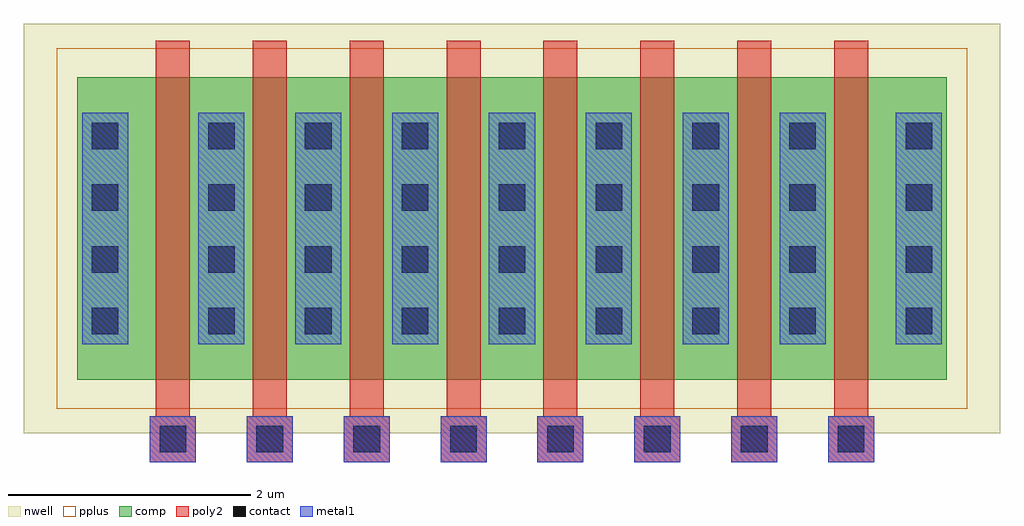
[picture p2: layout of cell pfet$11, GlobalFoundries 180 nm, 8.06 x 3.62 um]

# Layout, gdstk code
import gdstk
lib = gdstk.Library(unit=1e-6, precision=5e-09)
def R(c, l, rs):  # rectangles x0, y0, x1, y1
    for r in rs: c.add(gdstk.rectangle(r[:2], r[2:], *l))
def A(c, l, x, y, w, h, nx, ny, dx, dy):  # array of equal rectangles
    R(c, l, [(x+i*dx, y+j*dy, x+i*dx+w, y+j*dy+h) for i in range(nx) for j in range(ny)])
nwell = (21, 0)
comp = (22, 0)
poly2 = (30, 0)
pplus = (31, 0)
contact = (33, 0)
metal1 = (34, 0)

pfet_11 = lib.new_cell('pfet$11')
R(pfet_11, nwell, [(-0.9,-0.44,7.16,2.94)])
R(pfet_11, comp, [(-0.46,0,0,2.5), (0,0,6.26,2.5), (6.26,0,6.72,2.5)])
A(pfet_11, poly2, 0.14, -0.68, 0.38, 0.38, 8, 1, 0.8, 0)
A(pfet_11, poly2, 0.19, -0.3, 0.28, 3.1, 8, 1, 0.8, 0)
R(pfet_11, pplus, [(-0.63,-0.24,6.89,2.74)])
A(pfet_11, contact, 0.22, -0.6, 0.22, 0.22, 8, 1, 0.8, 0)
A(pfet_11, contact, -0.34, 0.375, 0.22, 0.22, 1, 4, 0, 0.51)
A(pfet_11, contact, 0.62, 0.375, 0.22, 0.22, 7, 4, 0.8, 0.51)
A(pfet_11, contact, 6.38, 0.375, 0.22, 0.22, 1, 4, 0, 0.51)
A(pfet_11, metal1, 0.14, -0.68, 0.38, 0.38, 8, 1, 0.8, 0)
A(pfet_11, metal1, 0.54, 0.295, 0.38, 1.91, 7, 1, 0.8, 0)
R(pfet_11, metal1, [(-0.42,0.295,-0.04,2.205), (6.3,0.295,6.68,2.205)])

lib.write_gds('pfet_11.gds')
